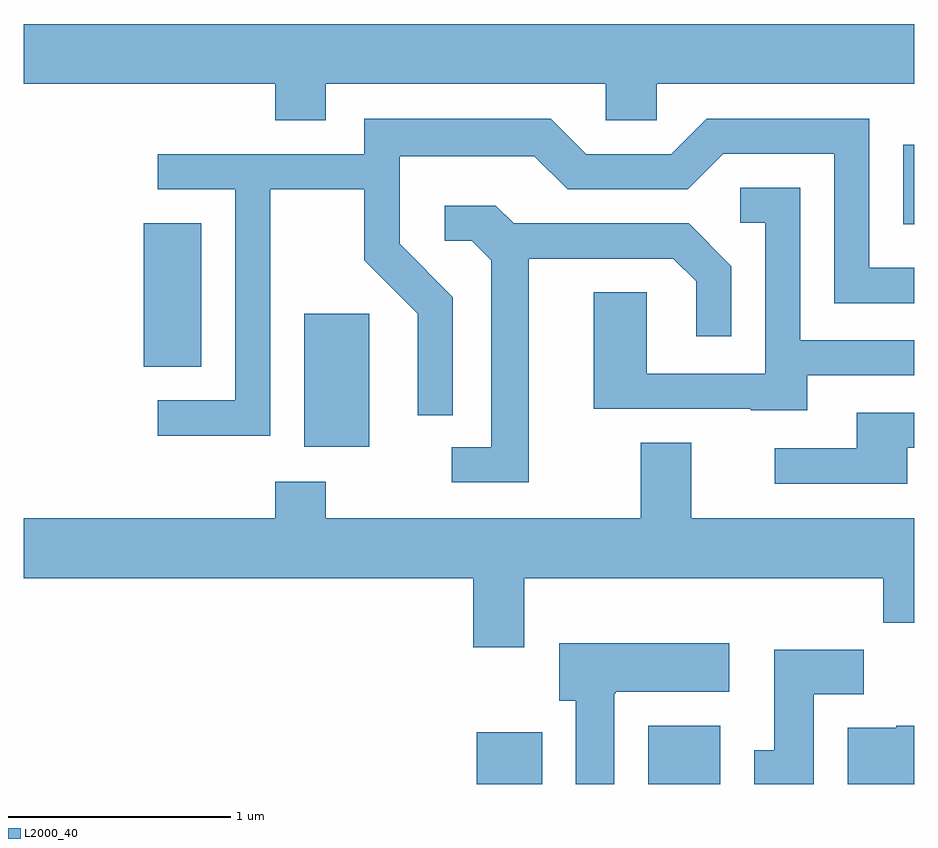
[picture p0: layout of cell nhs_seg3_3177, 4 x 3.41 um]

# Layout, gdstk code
import gdstk
lib = gdstk.Library(unit=1e-6, precision=1e-09)
def R(c, l, rs):  # rectangles x0, y0, x1, y1
    for r in rs: c.add(gdstk.rectangle(r[:2], r[2:], *l))
def P(c, l, *ps):  # polygons
    for p in ps: c.add(gdstk.Polygon(p, *l))
L2000_40 = (2000, 40)

nhs_seg3_3177 = lib.new_cell('nhs_seg3_3177')
R(nhs_seg3_3177, L2000_40, [(279.646,1213.892,279.939,1214.124), (280.416,1213.892,280.739,1214.154), (278.871,1215.406,279.164,1216.004), (278.151,1215.766,278.409,1216.409), (281.561,1216.406,281.611,1216.763)])
P(nhs_seg3_3177, L2000_40, [(278.969,1217.036),(280.226,1217.036),(280.226,1216.871),(280.454,1216.871),(280.454,1217.036),(281.611,1217.036),(281.611,1217.304),(277.611,1217.304),(277.611,1217.036),(278.741,1217.036),(278.741,1216.871),(278.969,1216.871)],
  [(278.719,1216.561),(279.141,1216.561),(279.141,1216.244),(279.381,1216.004),(279.381,1215.548),(279.539,1215.548),(279.539,1216.077),(279.299,1216.317),(279.299,1216.711),(279.904,1216.711),(280.054,1216.561),(280.592,1216.561),(280.752,1216.721),(281.251,1216.721),(281.251,1216.051),(281.611,1216.051),(281.611,1216.209),(281.409,1216.209),(281.409,1216.879),(280.679,1216.879),(280.519,1216.719),(280.137,1216.719),(279.977,1216.879),(279.141,1216.879),(279.141,1216.719),(278.213,1216.719),(278.213,1216.561),(278.561,1216.561),(278.561,1215.614),(278.213,1215.614),(278.213,1215.456),(278.719,1215.456)],
  [(281.129,1215.726),(281.611,1215.726),(281.611,1215.884),(281.099,1215.884),(281.099,1216.569),(280.828,1216.569),(280.828,1216.411),(280.941,1216.411),(280.941,1215.734),(280.409,1215.734),(280.409,1216.099),(280.171,1216.099),(280.171,1215.576),(280.875,1215.576),(280.875,1215.571),(281.129,1215.571)],
  [(279.879,1216.251),(280.529,1216.251),(280.631,1216.149),(280.631,1215.903),(280.789,1215.903),(280.789,1216.217),(280.597,1216.409),(279.812,1216.409),(279.732,1216.489),(279.503,1216.489),(279.503,1216.331),(279.624,1216.331),(279.711,1216.244),(279.711,1215.404),(279.533,1215.404),(279.533,1215.246),(279.879,1215.246)],
  [(281.579,1215.401),(281.611,1215.401),(281.611,1215.559),(281.351,1215.559),(281.351,1215.399),(280.983,1215.399),(280.983,1215.241),(281.579,1215.241)],
  [(279.859,1214.816),(281.471,1214.816),(281.471,1214.616),(281.611,1214.616),(281.611,1215.084),(280.609,1215.084),(280.609,1215.424),(280.381,1215.424),(280.381,1215.084),(278.969,1215.084),(278.969,1215.249),(278.741,1215.249),(278.741,1215.084),(277.611,1215.084),(277.611,1214.816),(279.631,1214.816),(279.631,1214.506),(279.859,1214.506)],
  [(280.264,1214.3),(280.27,1214.3),(280.27,1214.306),(280.779,1214.306),(280.779,1214.524),(280.016,1214.524),(280.016,1214.266),(280.091,1214.266),(280.091,1213.892),(280.264,1213.892)],
  [(281.159,1214.296),(281.384,1214.296),(281.384,1214.494),(280.981,1214.494),(280.981,1214.044),(280.891,1214.044),(280.891,1213.892),(281.159,1213.892)],
  [(281.611,1214.154),(281.53,1214.154),(281.53,1214.144),(281.311,1214.144),(281.311,1213.892),(281.611,1213.892)])

lib.write_gds('nhs_seg3_3177.gds')
